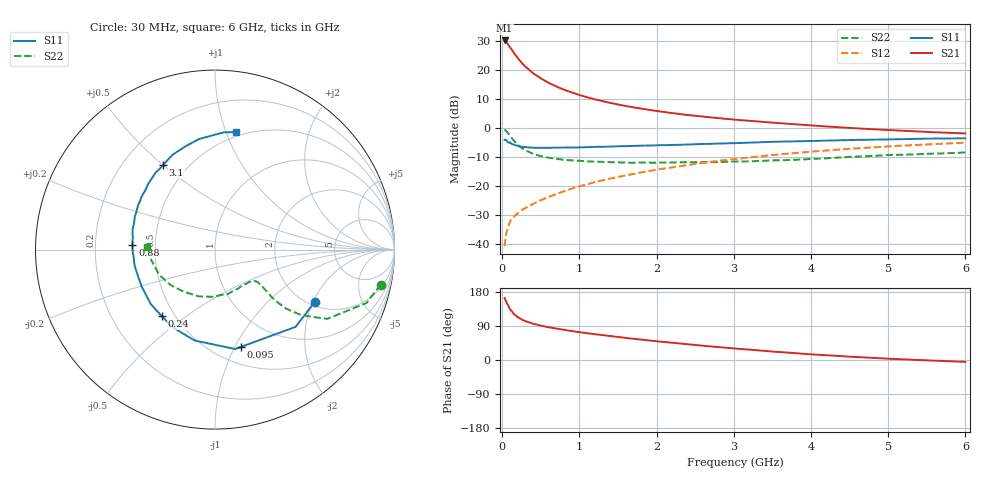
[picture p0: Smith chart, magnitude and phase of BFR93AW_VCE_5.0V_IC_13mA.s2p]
! Infineon Technologies  Discrete & RF Semiconductors
! BFR93AW
! VCE =  5.0 V,  IC =  13 mA
! Common Emitter S-Parameters:  Nov 2015
# GHz  S  MA  R  50
!  f  S11  S21  S12  S22
! GHz  MAG  ANG  MAG  ANG  MAG  ANG  MAG  ANG
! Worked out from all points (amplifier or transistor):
!   206 points, 30 MHz to 6 GHz, reference 50 ohm
!   highest |S21| = 30.3 dB at 30 MHz (marker M1)
!   |S21| within 3 dB of that: start of sweep to 118 MHz
!   unconditionally stable (mu >= 1): 662.8 MHz to 2.214 GHz
!   at 200 MHz: K = 0.57, MSG = 26.8 dB, |S12| = -29.5 dB
!   at 1.56 GHz: K = 1.05, MAG = 10.8 dB, |S12| = -16.6 dB
!   at 6 GHz: K = 0.90, MSG = 1.6 dB, |S12| = -5.1 dB
!   S11 on the Smith chart (normalised r, x): 30 MHz: 2.15, -2.07; 95 MHz: 0.67, -1.06; 240 MHz: 0.43, -0.41; 880 MHz: 0.37, +0.02; 3.1 GHz: 0.37, +0.50; 6 GHz: 0.46, +1.08
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0.03  0.628 -27.6  32.91 163.7  0.009 75.8  0.9442 -11.9
0.05  0.6219 -43.8  31.29 153.1  0.0145 74.7  0.895 -19.4
0.095  0.561 -74.9  25.79 136.1  0.0232 62.7  0.7484 -30.2
0.1  0.5653 -78.5  25.35 133.8  0.0242 61.9  0.7341 -31.7
0.15  0.5191 -102.6  19.98 121.2  0.0292 56.8  0.6027 -37.3
0.2  0.4928 -118.4  16.25 112.9  0.0336 54.9  0.5145 -39.7
0.24  0.4748 -128.4  14.05 108.3  0.037 55.4  0.4639 -40.1
0.26  0.471 -132.8  13.11 106.1  0.0385 55.7  0.4431 -40.2
0.3  0.4688 -139.9  11.54 102.3  0.0411 56.6  0.4108 -40.0
0.4  0.4577 -153.2  8.878 95.6  0.0486 59.3  0.3564 -38.6
0.5  0.454 -162.5  7.227 90.4  0.0564 61.2  0.3243 -37.8
0.6  0.4568 -168.9  6.067 86.3  0.0636 63.7  0.3063 -37.2
0.7  0.4552 -174.9  5.251 82.7  0.072 64.8  0.294 -37.5
0.88  0.4603 177.0  4.225 77.0  0.0876 66.9  0.2774 -39.1
1.04  0.4642 170.8  3.599 72.3  0.1012 67.4  0.2683 -41.3
1.2  0.4733 165.6  3.141 68.0  0.1155 67.9  0.262 -44.2
1.5  0.4833 157.4  2.552 60.7  0.1421 67.8  0.2555 -50.9
2.02  0.5043 144.1  1.957 49.0  0.1918 65.7  0.2521 -64.6
3.1  0.5525 121.6  1.369 29.0  0.2994 57.7  0.2635 -95.2
4.1  0.6022 104.4  1.087 13.8  0.3996 47.7  0.2952 -129.8
5.1  0.639 90.4  0.91 2.6  0.4886 36.4  0.3429 -158.7
6  0.6648 79.8  0.807 -4.9  0.5587 26.5  0.3783 177.7
